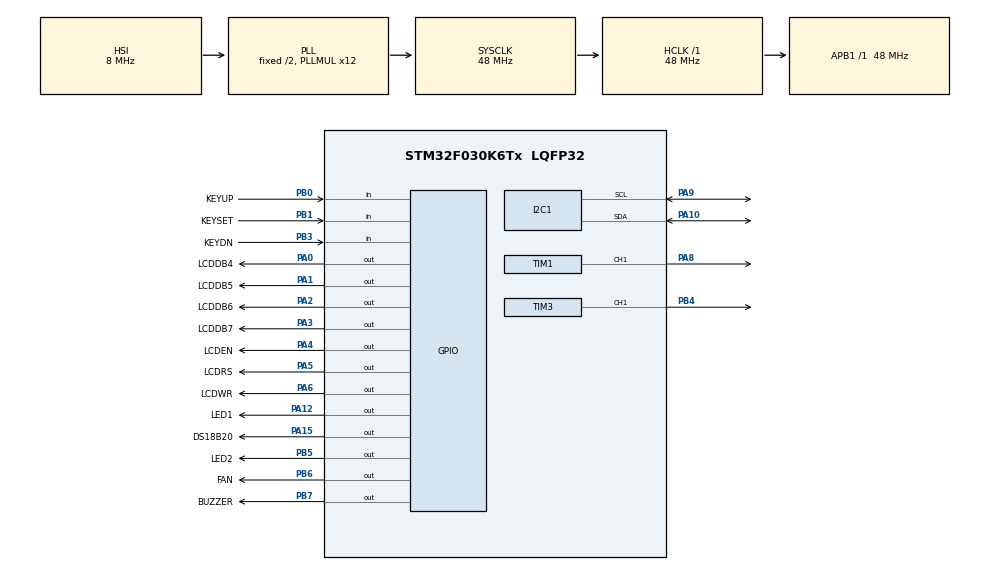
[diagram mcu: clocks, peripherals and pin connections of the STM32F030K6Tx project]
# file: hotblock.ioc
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IWDG.Prescaler=IWDG_PRESCALER_256
Mcu.Family=STM32F0
Mcu.Name=STM32F030K6Tx
Mcu.Package=LQFP32
NVIC.TIM17_IRQn=true\:0\:0\:false\:false\:true\:true\:true
NVIC.TIM3_IRQn=true\:0\:0\:false\:false\:true\:true\:true
PA0.GPIO_Label=LCDDB4
PA0.GPIO_Speed=GPIO_SPEED_FREQ_HIGH
PA0.Signal=GPIO_Output
PA1.GPIO_Label=LCDDB5
PA1.GPIO_Speed=GPIO_SPEED_FREQ_HIGH
PA1.Signal=GPIO_Output
PA10.Mode=I2C
PA10.Signal=I2C1_SDA
PA12.GPIO_Label=LED1
PA12.Signal=GPIO_Output
PA13.Mode=Serial_Wire
PA13.Signal=SYS_SWDIO
PA14.Mode=Serial_Wire
PA14.Signal=SYS_SWCLK
PA15.GPIO_Label=DS18B20
PA15.GPIO_Speed=GPIO_SPEED_FREQ_HIGH
PA15.Signal=GPIO_Output
PA2.GPIO_Label=LCDDB6
PA2.GPIO_Speed=GPIO_SPEED_FREQ_HIGH
PA2.Signal=GPIO_Output
PA3.GPIO_Label=LCDDB7
PA3.GPIO_Speed=GPIO_SPEED_FREQ_HIGH
PA3.Signal=GPIO_Output
PA4.GPIO_Label=LCDEN
PA4.GPIO_Speed=GPIO_SPEED_FREQ_HIGH
PA4.Signal=GPIO_Output
PA5.GPIO_Label=LCDRS
PA5.GPIO_Speed=GPIO_SPEED_FREQ_HIGH
PA5.Signal=GPIO_Output
PA6.GPIO_Label=LCDWR
PA6.GPIO_Speed=GPIO_SPEED_FREQ_HIGH
PA6.Signal=GPIO_Output
PA8.Signal=S_TIM1_CH1
PA9.Mode=I2C
PA9.Signal=I2C1_SCL
PB0.GPIO_Label=KEYUP
PB0.Signal=GPIO_Input
PB1.GPIO_Label=KEYSET
PB1.Signal=GPIO_Input
PB3.GPIO_Label=KEYDN
PB3.Signal=GPIO_Input
PB4.Signal=S_TIM3_CH1
PB5.GPIO_Label=LED2
PB5.Signal=GPIO_Output
PB6.GPIO_Label=FAN
PB6.Signal=GPIO_Output
PB7.GPIO_Label=BUZZER
PB7.Signal=GPIO_Output
PF0-OSC_IN.Mode=HSE-External-Oscillator
PF0-OSC_IN.Signal=RCC_OSC_IN
PF1-OSC_OUT.Mode=HSE-External-Oscillator
PF1-OSC_OUT.Signal=RCC_OSC_OUT
ProjectManager.HeapSize=0x150
ProjectManager.StackSize=0x350
ProjectManager.TargetToolchain=STM32CubeIDE
RCC.AHBFreq_Value=48000000
RCC.APB1Freq_Value=48000000
RCC.APB1TimFreq_Value=48000000
RCC.HCLKFreq_Value=48000000
RCC.PLLMUL=RCC_PLL_MUL12
RCC.SYSCLKFreq_VALUE=48000000
RCC.SYSCLKSource=RCC_SYSCLKSOURCE_PLLCLK
SH.S_TIM1_CH1.0=TIM1_CH1,PWM Generation1 CH1
SH.S_TIM3_CH1.0=TIM3_CH1,PWM Generation1 CH1
TIM1.Channel-PWM\ Generation1\ CH1=TIM_CHANNEL_1
TIM1.Period=1000-1
TIM1.Prescaler=960-1
TIM1.Pulse-PWM\ Generation1\ CH1=500-1
TIM16.Prescaler=48-1
TIM17.AutoReloadPreload=TIM_AUTORELOAD_PRELOAD_DISABLE
TIM17.ClockDivision=TIM_CLOCKDIVISION_DIV1
TIM17.Period=20000-1
TIM17.Prescaler=2400-1
TIM17.RepetitionCounter=0
TIM3.Channel-PWM\ Generation1\ CH1=TIM_CHANNEL_1
TIM3.OCFastMode_PWM-PWM\ Generation1\ CH1=TIM_OCFAST_ENABLE
TIM3.Period=1000-1
TIM3.Prescaler=48-1
TIM3.Pulse-PWM\ Generation1\ CH1=500-1
VP_IWDG_VS_IWDG.Mode=IWDG_Activate
VP_TIM16_VS_ClockSourceINT.Mode=Enable_Timer
VP_TIM17_VS_ClockSourceINT.Mode=Enable_Timer
VP_TIM1_VS_ClockSourceINT.Mode=Internal
VP_TIM3_VS_ClockSourceINT.Mode=Internal
board=custom

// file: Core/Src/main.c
/* USER CODE BEGIN Header */
/**
 ******************************************************************************
 * @file           : main.c
 * @brief          : Main program body
 ******************************************************************************
 * @attention
 *
 * <h2><center>&copy; Copyright (c) 2020 STMicroelectronics.
 * All rights reserved.</center></h2>
 *
 * This software component is licensed by ST under BSD 3-Clause license,
 * the "License"; You may not use this file except in compliance with the
 * License. You may obtain a copy of the License at:
 *                        opensource.org/licenses/BSD-3-Clause
 *
 ******************************************************************************
 */
/* USER CODE END Header */
#include "main.h"
#include "i2c.h"
#include "iwdg.h"
#include "tim.h"
#include "gpio.h"

/* USER CODE BEGIN Includes */
#include <stdio.h>
#include "lcd_ch.h"
#include "keypad.h"
#include "ds18b20.h"
#include "pid_controller.h"
#include "eeprom.h"
#include "ds1307.h"
#include <stdbool.h>
/* USER CODE END Includes */

/* USER CODE BEGIN PV */
#define SWVERSION	"2.0"
#define HWVERSION	"1.1"
typedef enum {
	MAIN_Menu = 0,
	SETHOUR_Menu=1,
	SETMINUTE_Menu=2,
	SETYEAR_Menu=3,
	SETMONTH_Menu=4,
	SETDAY_Menu=5
//	SWVERSION_Menu,
//	HWVERSION_Menu
} menu_t;
//char select_menu[][14] = { 	"1-SET TIME:  \0",
//							"2-SET DATE:  \0",
//							"3-SW VERSION:\0",
//							"4-HW VERSION:\0" };
uint16_t VirtAddVarTab[NB_OF_VAR] = { EEPROM_START_ADDRESS, EEPROM_START_ADDRESS
		+ 2, EEPROM_START_ADDRESS + 4 };
/* USER CODE END PV */

void SystemClock_Config(void);

/* USER CODE BEGIN 0 */

/*
 * precision:
 * 10=one digit
 * 100=two digit
 * 1000=three digit
 */
uint16_t FLOAT2DEC(float in, uint16_t precision) {
	if (in < 0.0)
		in = -in;
	return (uint16_t) ((in) * precision) % precision;
}

int16_t FLOAT2INT(float in) {
	return (int16_t) in;
}
static inline void BUZ_short(void) {
	HAL_GPIO_WritePin(BUZZER_GPIO_Port, BUZZER_Pin, GPIO_PIN_SET);
	HAL_Delay(100);
	HAL_GPIO_WritePin(BUZZER_GPIO_Port, BUZZER_Pin, GPIO_PIN_RESET);

}
static inline void BUZ_Long(void) {
	HAL_GPIO_WritePin(BUZZER_GPIO_Port, BUZZER_Pin, GPIO_PIN_SET);
	HAL_Delay(700);
	HAL_GPIO_WritePin(BUZZER_GPIO_Port, BUZZER_Pin, GPIO_PIN_RESET);

}
//HAL_TIM_PeriodElapsedCallback
//HAL_TIM_PWM_PulseFinishedCallback
//HAL_TIM_OC_DelayElapsedCallback
/*
 * time1=PID PWM,50hz
 * time3=Backlight PWM ,interrupt for keypad search,1khz
 * time16=delay us
 * time17=1s interrupt
 * timer  interrupt handlers
 */
///////////////////////////////TIMER3////////////////////////////////////////
void HAL_TIM_OC_DelayElapsedCallback(TIM_HandleTypeDef *htim) {
	if (htim->Instance == KEYPAD_TIMER
			&& keypad_state() == keypad_initialized) {
		keypad_read(Key_ALL, no_press);
	}
}
////////////////////////////TIMER17///////////////////////////////////////////
volatile int8_t GOMAINMENU_counter = 0;
volatile uint8_t flag_1s = 0, flag_1smain = 0;
void HAL_TIM_PeriodElapsedCallback(TIM_HandleTypeDef *htim) {
	if (htim->Instance == TIM17) {

		flag_1s = 1;
		flag_1smain = 1;
		if (GOMAINMENU_counter > 0)
			GOMAINMENU_counter--;
	}
}
/*
 * pwm_input=0->1000;~0%:0.1%:100%
 */
#define PID_TIMER htim1
#define PID_CHANNEL	TIM_CHANNEL_1

void PID_PWM(uint16_t duty) {

	__HAL_TIM_SET_COMPARE(&PID_TIMER, TIM_CHANNEL_1, duty);
}
/*
 *
 */
void show_Time(uint8_t xpos, uint8_t ypos, Time_t time) {
	char text[18];
	if ((time.second % 2) == 0)
		sprintf(text, "%02d:%02d", time.hour, time.minute);
	else
		sprintf(text, "%02d %02d", time.hour, time.minute);

	LCD_gotoxy(xpos, ypos);
	LCD_putstr(text);

}
void show_Date(uint8_t xpos, uint8_t ypos, Date_t Date) {
	char text[18];
	sprintf(text, "%02d/%02d/%02d", Date.year, Date.month, Date.date);
	LCD_gotoxy(xpos, ypos);
	LCD_putstr(text);

}
void show_temperature(Ds18b20Sensor_t ds18b20, double setpoint) {
	char text[18];
	if (ds18b20.DataIsValid) {
		sprintf(text, "TEMP=%02d.%d(%02d.%d)", FLOAT2INT(ds18b20.Temperature),
				FLOAT2DEC(ds18b20.Temperature, 10), FLOAT2INT(setpoint),
				FLOAT2DEC(setpoint, 10));
	} else {
		sprintf(text, "TEMP=----(%02d.%0d)", FLOAT2INT(setpoint),
				FLOAT2DEC(setpoint, 10));
	}
	LCD_gotoxy(0, 1);
	LCD_putstr(text);
}
void check_updownkey(uint8_t *value, uint8_t max, uint8_t min, uint8_t xipos,
		uint8_t yipos, uint8_t xbpos, uint8_t ybpos) {
	char text[5];
	keypad_init(Key_UP | Key_DOWN | Key_SET, Long_press);

	if (keypad_read(Key_UP, Short_press)) {
		keypad_init(Key_UP, Short_press);
		GOMAINMENU_counter = GOMAINMENU_DELAY;
		(*value)++;
		if (*value > max)
			*value = min;
		sprintf(text, "%02d", *value);
		LCD_gotoxy(xipos, yipos);
		LCD_putstr(text);
		LCD_gotoxy(xbpos, ybpos);
	}
	if (keypad_read(Key_DOWN, Short_press)) {
		keypad_init(Key_DOWN, Short_press);
		GOMAINMENU_counter = GOMAINMENU_DELAY;
		if (*value == min)
			*value = max + 1;
		(*value)--;
		sprintf(text, "%02d", *value);
		LCD_gotoxy(xipos, yipos);
		LCD_putstr(text);
		LCD_gotoxy(xbpos, ybpos);
	}

}
/* USER CODE END 0 */

int main(void)
{

  /* MCU Configuration--------------------------------------------------------*/

  /* Reset of all peripherals, Initializes the Flash interface and the Systick. */
  HAL_Init();

  /* Configure the system clock */
  SystemClock_Config();

  /* Initialize all configured peripherals */
  MX_GPIO_Init();
  MX_TIM1_Init();
  MX_TIM3_Init();
  MX_TIM16_Init();
  MX_TIM17_Init();
  MX_IWDG_Init();
  MX_I2C1_Init();
  /* USER CODE BEGIN 2 */
	uint8_t max_day = 0;
	char str_display0[20];
	char str_display1[20];
	uint8_t menu_index = 0;
	double kp = 300.0, kd = 5.0, ki = 0.0;
	double cur_setpoint = 39.0, tmp_setpoint;
	Ds18b20Sensor_t ds18b20;
	PIDControl pid_temperature;
	menu_t menu_choice = MAIN_Menu;
	/////////////////////////////////////////////////////////////////////
	LCD_init();
	LCD_gotoxy(0, 0);
	LCD_putstr("init device...");
	////////////////////////////init Date & time////////////////////////////////////////
	Date_t cur_date = { .year = 20, .month = 10, .date = 2, .day = 5 };
	Time_t cur_time = { .hour = 16, .minute = 51, .second = 40 };
	uint8_t ramdata;
	DS1307Read(0x08, &ramdata);
	if ((ramdata != 1)|| !(HAL_GPIO_ReadPin(KEYUP_GPIO_Port, KEYUP_Pin)
			|| HAL_GPIO_ReadPin(KEYDN_GPIO_Port, KEYDN_Pin))) {
		Set_Time(cur_time);
		Set_Date(cur_date);
		uint8_t userram = 1;
		DS1307Write(0x08, &userram);
		DS1307Read(0x08, &ramdata);
	}
	DS1307_Init();
	///////////////////////////Start EEPROM///////////////
	HAL_FLASH_Unlock();
	EE_Init();
	uint16_t varValue;
	EE_ReadVariable(VirtAddVarTab[0], &varValue);
	if ((uint8_t) varValue == 0
			|| !(HAL_GPIO_ReadPin(KEYUP_GPIO_Port, KEYUP_Pin)
					|| HAL_GPIO_ReadPin(KEYDN_GPIO_Port, KEYDN_Pin))) {
		EE_WriteVariable(VirtAddVarTab[0], 1);
		HAL_Delay(5);
		EE_WriteVariable(VirtAddVarTab[1], 370);
		HAL_Delay(5);
		BUZ_Long();
	}
	EE_ReadVariable(VirtAddVarTab[1], &varValue);
	cur_setpoint = (double) varValue / 10.0;
	tmp_setpoint = cur_setpoint;
	//////////////////////////////Init DS18B20/////////////////////////
	DS18B20_Init();
	//////////////////////////////Init keypad/////////////////////////
	keypad_init(Key_ALL, Both_press);
	//////////////////////////////start Timers/////////////////////////
//	HAL_TIM_PWM_Start_IT(&htim3, TIM_CHANNEL_1);
	HAL_TIM_Base_Start_IT(&htim17);
	HAL_TIM_PWM_Start(&PID_TIMER, PID_CHANNEL);
	PID_PWM(0);
	/////////////////////////////////////////////////////////////////////
	HAL_Delay(500);
  /* USER CODE END 2 */

  /* Infinite loop */
  /* USER CODE BEGIN WHILE */
	bool backtomainmenu=false;
	BUZ_short();
	LCD_clear_home();
//	HAL_Delay(10);
	PIDInit(&pid_temperature, kp, kd, ki, 1.0, 0.0, 1000.0, AUTOMATIC, DIRECT);
	PIDSetpointSet(&pid_temperature, cur_setpoint);
	while (1) {

#ifdef IWDG_ENABLE
		HAL_IWDG_Refresh(&hiwdg);
#endif
		/////////////////////////////run always/////////////////////////////////////////

		/////////////////////////////switch menu////////////////////////////////////////////
		switch ((uint8_t) menu_choice) {
		/////////////////////////Main Menu Switch//////////////////////////////
		case MAIN_Menu:
			if(backtomainmenu)
			{
				backtomainmenu=false;
				PIDInit(&pid_temperature, kp, kd, ki, 1.0, 0.0, 1000.0,
						AUTOMATIC, DIRECT);
				PIDSetpointSet(&pid_temperature, cur_setpoint);
			}
			if (flag_1smain) {
				flag_1smain = 0;
				if (DS18B20_get_temperature(&ds18b20)) {
					PIDInputSet(&pid_temperature, ds18b20.Temperature);
					PIDCompute(&pid_temperature);
					PID_PWM((uint16_t) PIDOutputGet(&pid_temperature));
					if (ds18b20.Temperature > cur_setpoint + 0.5)
						HAL_GPIO_WritePin(FAN_GPIO_Port, FAN_Pin, GPIO_PIN_SET);
					else
						HAL_GPIO_WritePin(FAN_GPIO_Port, FAN_Pin, GPIO_PIN_RESET);
				} else {
					PID_PWM(0);
					DS18B20_Init();
					PIDInit(&pid_temperature, kp, kd, ki, 1.0, 0.0, 1000.0,
							AUTOMATIC, DIRECT);
					PIDSetpointSet(&pid_temperature, cur_setpoint);
				}
				show_temperature(ds18b20, tmp_setpoint);
				Get_Time_Date(&cur_time, &cur_date);
				//cur_time.second++;if(cur_time.second>60)cur_time.second=0;
				show_Time(0, 0, cur_time);
				show_Date(7, 0, cur_date);
			}
			if (keypad_read(Key_UP, Short_press)) {
				keypad_init(Key_UP, Short_press);
				tmp_setpoint += 0.1;
				if (tmp_setpoint > MAX_TEMP) {
					tmp_setpoint = MAX_TEMP;
				}
				show_temperature(ds18b20, tmp_setpoint);
				LCD_gotoxy(15, 1);
				LCD_putchar('*');
				HAL_GPIO_WritePin(LED1_GPIO_Port, LED1_Pin, GPIO_PIN_SET);
				GOMAINMENU_counter = GOMAINMENU_DELAY;
			}
			if (keypad_read(Key_UP, Long_press)) {
				keypad_init(Key_UP, Long_press);
				tmp_setpoint += 1.0;
				if (tmp_setpoint > MAX_TEMP) {
					tmp_setpoint = MAX_TEMP;
				}
				show_temperature(ds18b20, tmp_setpoint);
				LCD_gotoxy(15, 1);
				LCD_putchar('*');
				HAL_GPIO_WritePin(LED1_GPIO_Port, LED1_Pin, GPIO_PIN_SET);
				GOMAINMENU_counter = GOMAINMENU_DELAY;
			}
			if (keypad_read(Key_DOWN, Short_press)) {
				keypad_init(Key_DOWN, Short_press);
				tmp_setpoint -= 0.1;
				if (tmp_setpoint < MIN_TEMP) {
					tmp_setpoint = MIN_TEMP;
				}
				show_temperature(ds18b20, tmp_setpoint);
				LCD_gotoxy(15, 1);
				LCD_putchar('*');
				HAL_GPIO_WritePin(LED1_GPIO_Port, LED1_Pin, GPIO_PIN_SET);
				GOMAINMENU_counter = GOMAINMENU_DELAY;
			}
			if (keypad_read(Key_DOWN, Long_press)) {
				keypad_init(Key_DOWN, Long_press);
				tmp_setpoint -= 1.0;
				if (tmp_setpoint < MIN_TEMP) {
					tmp_setpoint = MIN_TEMP;
				}
				show_temperature(ds18b20, tmp_setpoint);
				LCD_gotoxy(15, 1);
				LCD_putchar('*');
				HAL_GPIO_WritePin(LED1_GPIO_Port, LED1_Pin, GPIO_PIN_SET);
				GOMAINMENU_counter = GOMAINMENU_DELAY;
			}
			if (keypad_read(Key_SET, Short_press)) {
				keypad_init(Key_SET, Short_press);
				cur_setpoint = tmp_setpoint;
				varValue = (uint16_t) ((double) cur_setpoint * 10.0);
				EE_WriteVariable(VirtAddVarTab[1], varValue);

				PIDSetpointSet(&pid_temperature, cur_setpoint);
				LCD_gotoxy(15, 1);
				LCD_putchar(' ');
				HAL_GPIO_WritePin(LED1_GPIO_Port, LED1_Pin, GPIO_PIN_RESET);
				BUZ_short();
				PID_PWM(0);
			}
			if (keypad_read(Key_SET, Long_press)) {
				keypad_init(Key_SET, Long_press);
				menu_choice = SETHOUR_Menu;
				GOMAINMENU_counter = GOMAINMENU_DELAY;
				BUZ_short();
				LCD_clear_home();
//				HAL_Delay(10);
				LCD_gotoxy(0, 0);
				LCD_putstr("1-SET TIME:");
				cur_time.second = 0;
				show_Time(5, 1, cur_time);
				LCD_gotoxy(6, 1);
				LCD_cursor_on();

			}
			if (GOMAINMENU_counter == 0) {
				GOMAINMENU_counter = -1;
				tmp_setpoint = cur_setpoint;
				LCD_gotoxy(15, 1);
				LCD_putchar(' ');
				HAL_GPIO_WritePin(LED1_GPIO_Port, LED1_Pin, GPIO_PIN_RESET);
			}
			break;
			/////////////////////////set hour Menu //////////////////////////////
		case SETHOUR_Menu:
			check_updownkey(&cur_time.hour, 23, 0, 5, 1, 6, 1);
			if (keypad_read(Key_SET, Short_press)) {
				keypad_init(Key_SET, Short_press);
				GOMAINMENU_counter = GOMAINMENU_DELAY;
				menu_choice = SETMINUTE_Menu;
				sprintf(str_display1, "%02d", cur_time.minute);
				LCD_gotoxy(8, 1);
				LCD_putstr(str_display1);
				LCD_gotoxy(9, 1);
			}
			if (GOMAINMENU_counter == 0) {
				GOMAINMENU_counter = -1;
				backtomainmenu=true;
				LCD_clear_home();
//				HAL_Delay(10);
				menu_choice = MAIN_Menu;
				LCD_cursor_off();
			}
			break;
			/////////////////////////set minute Menu //////////////////////////////
		case SETMINUTE_Menu:
			check_updownkey(&cur_time.minute, 59, 0, 8, 1, 9, 1);
			if (keypad_read(Key_SET, Short_press)) {
				keypad_init(Key_SET, Short_press);
				Set_Time(cur_time);
				GOMAINMENU_counter = GOMAINMENU_DELAY;
				menu_choice = SETYEAR_Menu;
				LCD_clear_home();
//				HAL_Delay(10);

				LCD_gotoxy(0, 0);
				LCD_putstr("2-SET DATE:");
				show_Date(4, 1, cur_date);
				LCD_gotoxy(5, 1);
				BUZ_short();
			}
			if (GOMAINMENU_counter == 0) {
				GOMAINMENU_counter = -1;
				backtomainmenu=true;
				LCD_clear_home();
//				HAL_Delay(10);

				menu_choice = MAIN_Menu;
				LCD_cursor_off();
			}
			break;
			/////////////////////////set year Menu //////////////////////////////
		case SETYEAR_Menu:
			check_updownkey(&cur_date.year, 99, 0, 4, 1, 5, 1);
			if (keypad_read(Key_SET, Short_press)) {
				keypad_init(Key_SET, Short_press);
				GOMAINMENU_counter = GOMAINMENU_DELAY;
				menu_choice = SETMONTH_Menu;
				sprintf(str_display1, "%02d", cur_date.month);
				LCD_gotoxy(7, 1);
				LCD_putstr(str_display1);
				LCD_gotoxy(8, 1);
			}
			if (GOMAINMENU_counter == 0) {
				GOMAINMENU_counter = -1;
				backtomainmenu=true;
				LCD_clear_home();
//				HAL_Delay(10);
				menu_choice = MAIN_Menu;
				LCD_cursor_off();
			}
			break;
			/////////////////////////set month Menu //////////////////////////////
		case SETMONTH_Menu:
			check_updownkey(&cur_date.month, 12, 1, 7, 1, 8, 1);
			if (keypad_read(Key_SET, Short_press)) {
				keypad_init(Key_SET, Short_press);
				GOMAINMENU_counter = GOMAINMENU_DELAY;
				menu_choice = SETDAY_Menu;
				sprintf(str_display1, "%02d", cur_date.date);
				LCD_gotoxy(10, 1);
				LCD_putstr(str_display1);
				LCD_gotoxy(11, 1);
				if (cur_date.month == 2)
					max_day = gDaysInMonth[cur_date.month - 1]
							+ gLeap((uint16_t) 2000 + cur_date.year);
				else
					gDaysInMonth[cur_date.month - 1];

			}
			if (GOMAINMENU_counter == 0) {
				GOMAINMENU_counter = -1;
				backtomainmenu=true;
				LCD_clear_home();
//				HAL_Delay(10);
				menu_choice = MAIN_Menu;
				LCD_cursor_off();
			}
			break;
			/////////////////////////set month Menu //////////////////////////////
		case SETDAY_Menu:
			check_updownkey(&cur_date.date, max_day, 1, 10, 1, 11, 1);
			if (keypad_read(Key_SET, Short_press)) {
				keypad_init(Key_SET, Short_press);
				Set_Date(cur_date);
				GOMAINMENU_counter = 0;
				BUZ_short();
				LCD_cursor_off();
			}
			if (GOMAINMENU_counter == 0) {
				GOMAINMENU_counter = -1;
				backtomainmenu=true;
				LCD_clear_home();
//				HAL_Delay(10);

				menu_choice = MAIN_Menu;
				LCD_cursor_off();
			}
			break;
			///////////////////////////////////////////////////////////
		}
		///////////////////////////////////end of switch/////////////////////////////////

    /* USER CODE END WHILE */

	}
}

void SystemClock_Config(void)
{
  RCC_OscInitTypeDef RCC_OscInitStruct = {0};
  RCC_ClkInitTypeDef RCC_ClkInitStruct = {0};
  RCC_PeriphCLKInitTypeDef PeriphClkInit = {0};

  /** Initializes the RCC Oscillators according to the specified parameters
  * in the RCC_OscInitTypeDef structure.
  */
  RCC_OscInitStruct.OscillatorType = RCC_OSCILLATORTYPE_HSI|RCC_OSCILLATORTYPE_LSI;
  RCC_OscInitStruct.HSIState = RCC_HSI_ON;
  RCC_OscInitStruct.HSICalibrationValue = RCC_HSICALIBRATION_DEFAULT;
  RCC_OscInitStruct.LSIState = RCC_LSI_ON;
  RCC_OscInitStruct.PLL.PLLState = RCC_PLL_ON;
  RCC_OscInitStruct.PLL.PLLSource = RCC_PLLSOURCE_HSI;
  RCC_OscInitStruct.PLL.PLLMUL = RCC_PLL_MUL12;
  RCC_OscInitStruct.PLL.PREDIV = RCC_PREDIV_DIV1;
  if (HAL_RCC_OscConfig(&RCC_OscInitStruct) != HAL_OK)
  {
    Error_Handler();
  }
  /** Initializes the CPU, AHB and APB buses clocks
  */
  RCC_ClkInitStruct.ClockType = RCC_CLOCKTYPE_HCLK|RCC_CLOCKTYPE_SYSCLK
                              |RCC_CLOCKTYPE_PCLK1;
  RCC_ClkInitStruct.SYSCLKSource = RCC_SYSCLKSOURCE_PLLCLK;
  RCC_ClkInitStruct.AHBCLKDivider = RCC_SYSCLK_DIV1;
  RCC_ClkInitStruct.APB1CLKDivider = RCC_HCLK_DIV1;

  if (HAL_RCC_ClockConfig(&RCC_ClkInitStruct, FLASH_LATENCY_1) != HAL_OK)
  {
    Error_Handler();
  }
  PeriphClkInit.PeriphClockSelection = RCC_PERIPHCLK_I2C1;
  PeriphClkInit.I2c1ClockSelection = RCC_I2C1CLKSOURCE_HSI;
  if (HAL_RCCEx_PeriphCLKConfig(&PeriphClkInit) != HAL_OK)
  {
    Error_Handler();
  }
}

void Error_Handler(void)
{
}

/************************ (C) COPYRIGHT STMicroelectronics *****END OF FILE****/
